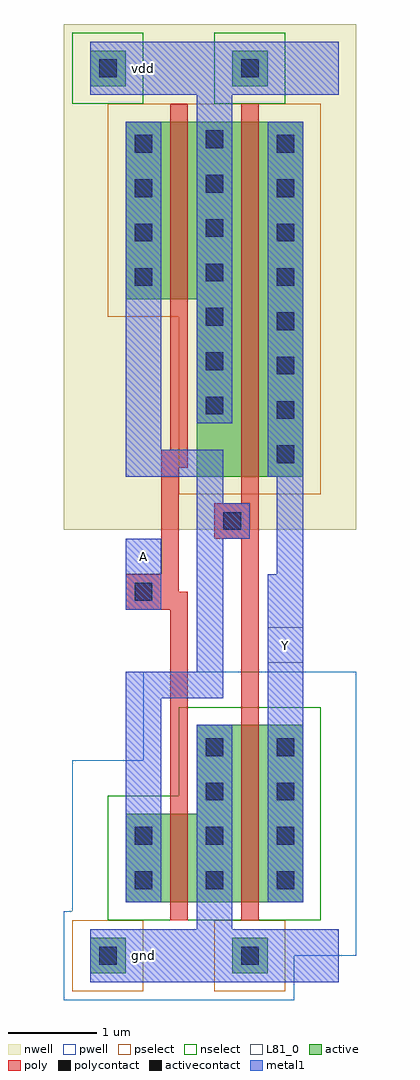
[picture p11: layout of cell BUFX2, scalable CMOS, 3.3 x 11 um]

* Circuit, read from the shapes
.subckt BUFX2 A Y gnd vdd
M1 gnd A n1 gnd nfet w=1u l=0.2u
M2 Y n1 gnd gnd nfet w=2u l=0.2u
M3 vdd A n1 vdd pfet w=2u l=0.2u
M4 Y n1 vdd vdd pfet w=4u l=0.2u
.ends

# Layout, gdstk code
import gdstk
lib = gdstk.Library(unit=1e-6, precision=1e-09)
def R(c, l, rs):  # rectangles x0, y0, x1, y1
    for r in rs: c.add(gdstk.rectangle(r[:2], r[2:], *l))
def A(c, l, x, y, w, h, nx, ny, dx, dy):  # array of equal rectangles
    R(c, l, [(x+i*dx, y+j*dy, x+i*dx+w, y+j*dy+h) for i in range(nx) for j in range(ny)])
pwell = (41, 0)
nwell = (42, 0)
active = (43, 0)
pselect = (44, 0)
nselect = (45, 0)
poly = (46, 0)
polycontact = (47, 0)
activecontact = (48, 0)
metal1 = (49, 0)
L81_0 = (81, 0)

bufx2 = lib.new_cell('BUFX2')
R(bufx2, pwell, [(-0.5,-0.5,2.1,0), (-0.5,0,2.8,0.5), (-0.4,0.5,2.8,2.2), (0.4,2.2,2.8,3.2)])
R(bufx2, nwell, [(-0.5,4.8,2.8,10.5)])
R(bufx2, active, [(-0.2,-0.2,0.2,0.2), (1.4,-0.2,1.8,0.2), (0.2,0.6,2.2,1.6), (1,1.6,2.2,2.6), (1,5.4,2.2,7.4), (0.2,7.4,2.2,9.4), (-0.2,9.8,0.2,10.2), (1.4,9.8,1.8,10.2)])
R(bufx2, pselect, [(-0.4,-0.4,0.4,0.4), (1.2,-0.4,2,0.4), (0.8,5.2,2.4,7.2), (0,7.2,2.4,9.6)])
R(bufx2, nselect, [(0,0.4,2.4,1.8), (0.8,1.8,2.4,2.8), (-0.4,9.6,0.4,10.4), (1.2,9.6,2,10.4)])
R(bufx2, poly, [(0.7,0.4,0.9,3.9), (1.5,0.4,1.7,4.7), (0.2,3.9,0.9,4.1), (0.2,4.1,0.8,4.3), (0.6,4.3,0.8,5.5), (1.2,4.7,1.7,5.1), (1.5,5.1,1.7,9.6), (0.6,5.5,0.9,5.7), (0.7,5.7,0.9,9.6)])
R(bufx2, polycontact, [(0.3,4,0.5,4.2), (1.3,4.8,1.5,5)])
A(bufx2, activecontact, 0.3, 0.75, 0.2, 0.2, 3, 2, 0.8, 0.5)
A(bufx2, activecontact, 1.9, 5.55, 0.2, 0.2, 1, 8, 0, 0.5)
A(bufx2, activecontact, 1.1, 6.1, 0.2, 0.2, 1, 7, 0, 0.5)
A(bufx2, activecontact, 0.3, 7.55, 0.2, 0.2, 1, 4, 0, 0.5)
R(bufx2, activecontact, [(-0.1,-0.1,0.1,0.1), (1.5,-0.1,1.7,0.1), (1.1,1.75,1.3,1.95), (1.9,1.75,2.1,1.95), (1.1,2.25,1.3,2.45), (1.9,2.25,2.1,2.45), (-0.1,9.9,0.1,10.1), (1.5,9.9,1.7,10.1)])
R(bufx2, metal1, [(-0.2,-0.3,2.6,0.3), (1,0.3,1.4,2.6), (0.2,0.6,0.6,2.9), (1.8,0.6,2.2,4.3), (0.2,2.9,1.3,3.2), (1,3.2,1.3,4.7), (0.2,3.9,0.6,4.7), (1.9,4.3,2.2,5.4), (1,4.7,1.6,5.1), (1,5.1,1.3,5.4), (0.2,5.4,1.3,5.7), (1.8,5.4,2.2,9.4), (0.2,5.7,0.6,9.4), (1,6,1.4,9.7), (-0.2,9.7,2.6,10.3)])
R(bufx2, L81_0, [(1.8,3.3,2.2,3.7), (0.2,4.3,0.6,4.7)])
bufx2.add(gdstk.Label('vdd', (0.4,10), layer=49, texttype=0))
bufx2.add(gdstk.Label('gnd', (0.4,0), layer=49, texttype=0))
bufx2.add(gdstk.Label('A', (0.4,4.5), layer=49, texttype=0))
bufx2.add(gdstk.Label('Y', (2,3.5), layer=49, texttype=0))

lib.write_gds('BUFX2.gds')
